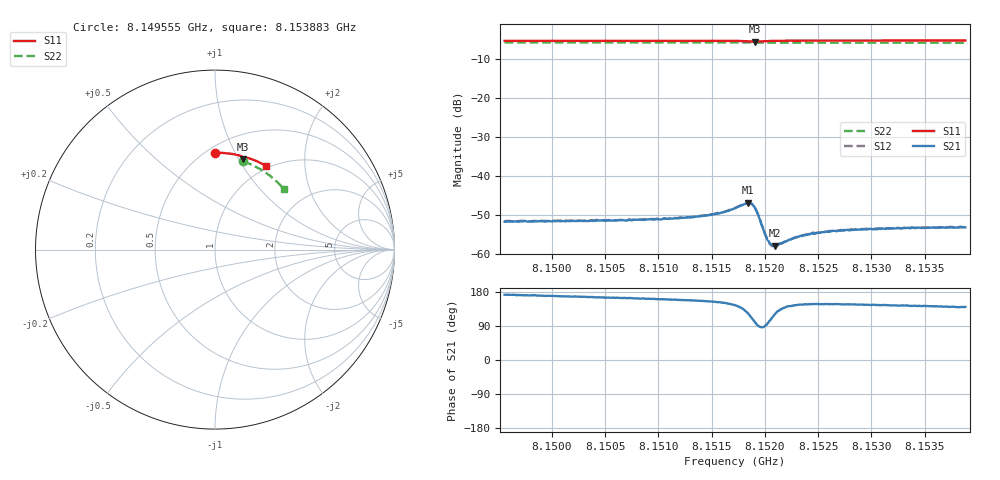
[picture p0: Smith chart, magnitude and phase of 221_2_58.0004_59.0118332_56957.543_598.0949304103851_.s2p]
#  HZ  S  RI  R  50.00
! Rohde & Schwarz Vector Network Analyzer
! Rohde-Schwarz,ZNB20-2Port,1311601062101988,3.16
! Created: UTC 3/21/2024, 1:00:09 AM
! freq[Hz]  re:S11  im:S11  re:S21  im:S21  re:S12  im:S12  re:S22  im:S22
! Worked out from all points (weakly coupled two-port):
!   401 points, 8.149555 GHz to 8.153883 GHz, reference 50 ohm
!   highest |S21| = -46.81 dB at 8.151838 GHz (marker M1); lowest = -57.8 dB at 8.152098 GHz (marker M2)
!   lowest |S11| = -5.6 dB at 8.151903 GHz (marker M3), VSWR 3.23, Z = 37.3 + j52.1 ohm
!   |S11| at or under -10 dB: nowhere
!   |S22| runs from -5.8 to -5.7 dB; largest |S21 - S12| = 0.00013
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8.1495554e9  -0.000855 0.5394  -0.0026 0.000354  -0.00261 0.000388  0.1584 0.491
8.1502803e9  0.05 0.5382  -0.0026 0.000617  -0.00261 0.000658  0.202 0.4738
8.1510051e9  0.1006 0.5323  -0.00264 0.000926  -0.00268 0.00101  0.2439 0.4527
8.1512755e9  0.1198 0.5284  -0.00276 0.00114  -0.00276 0.00116  0.2589 0.444
8.1514594e9  0.1331 0.5252  -0.00287 0.00133  -0.00284 0.0014  0.269 0.4377
8.1515676e9  0.1411 0.523  -0.00297 0.00153  -0.00296 0.00161  0.2748 0.4337
8.1517191e9  0.1531 0.5174  -0.00318 0.00226  -0.00314 0.00234  0.2829 0.4284
8.1518056e9  0.1588 0.5111  -0.00295 0.00326  -0.00296 0.00332  0.2873 0.425
8.1518381e9  0.1594 0.5076  -0.00254 0.00379  -0.00249 0.00382  0.2891 0.4235
8.1518705e9  0.1582 0.5047  -0.00173 0.0041  -0.00168 0.00416  0.2905 0.4225
8.151903e9  0.1553 0.5039  -0.000738 0.00394  -0.000684 0.00394  0.2921 0.4213
8.1519354e9  0.1535 0.5061  -1.74e-05 0.00321  4.32e-05 0.00325  0.2937 0.42
8.1519895e9  0.1554 0.5109  9.6e-05 0.002  8.91e-05 0.00203  0.2963 0.4183
8.152022e9  0.1582 0.5126  -0.000146 0.00155  -0.000114 0.00155  0.2982 0.4172
8.1520544e9  0.1613 0.5135  -0.000373 0.00127  -0.000361 0.00131  0.2999 0.416
8.1520761e9  0.1634 0.5138  -0.000537 0.00119  -0.000536 0.00116  0.3011 0.4152
8.1520977e9  0.1654 0.514  -0.000682 0.00109  -0.000659 0.00114  0.3021 0.4143
8.1522924e9  0.1814 0.5114  -0.00135 0.000949  -0.00134 0.000939  0.3119 0.4066
8.1524439e9  0.1923 0.5081  -0.00159 0.00101  -0.00156 0.000996  0.3196 0.4006
8.152736e9  0.2121 0.501  -0.00167 0.00111  -0.00169 0.00112  0.3338 0.3883
8.1531687e9  0.2402 0.489  -0.00172 0.00125  -0.00176 0.00125  0.354 0.3693
8.1538827e9  0.2841 0.466  -0.0017 0.00142  -0.00168 0.00149  0.3844 0.3359
